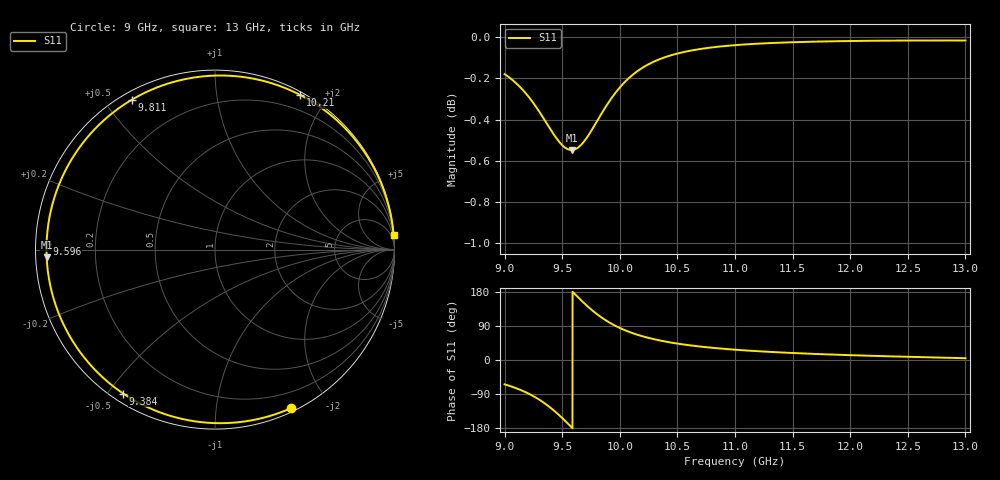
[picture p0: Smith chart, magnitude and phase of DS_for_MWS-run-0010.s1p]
! TOUCHSTONE file generated by CST DESIGN STUDIO
! Date and time: Tue Feb  4 13:39:02 2025
! Project name: C:\Work\MatlabApps\UnitCellOptimizationMatlab\CST\unitcell.cst
! Tree item: Tasks\Sweep1\SPara1\S-Parameters
! Header version: 2024
! Port assignment regex: !\s*Touchstone port\s*([0-9]+)\s*=\s*(CST MWS port|CST DES external port|CST DES block port)\s*(.+)\s* \(\"(.*)\"\)(\s*mode\s*([0-9]+))?.*
! Touchstone port assignment:
! Touchstone port 1 = CST DES external port 1 ("")
# GHz S MA R 50
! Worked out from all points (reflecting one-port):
!   4001 points, 9 GHz to 13 GHz, reference 50 ohm
!   lowest |S11| = -0.5 dB at 9.581 GHz (marker M1), VSWR 31.73, Z = 1.58 - j1.17 ohm
!   phase of S11 starts at -64 deg and turns -291 deg over the sweep
!   S11 on the Smith chart (normalised r, x): 9 GHz: 0.04, -1.59; 9.384 GHz: 0.03, -0.55; 9.596 GHz: 0.03, +0.02; 9.811 GHz: 0.03, +0.59; 10.21 GHz: 0.03, +1.69; 13 GHz: 1, +24
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9  0.9796 -64.2
9.047  0.9775 -68.7
9.116  0.9737 -76.3
9.234  0.9652 -92.8
9.314  0.958 -107.3
9.384  0.9512 -122.5
9.441  0.9458 -136.8
9.5  0.9414 -153.1
9.542  0.9395 -165.5
9.581  0.9389 -177.3
9.596  0.939 178.1
9.651  0.9408 161.5
9.712  0.9452 143.9
9.761  0.9499 130.9
9.811  0.9551 118.9
9.853  0.9594 109.8
9.897  0.9637 101.2
10  0.9723 84.5
10.102  0.9787 71.8
10.214  0.9838 61.2
10.346  0.9879 51.6
10.5  0.991 43.3
10.72  0.9937 34.7
11  0.9956 27.2
11.5  0.9973 18.5
12  0.9979 12.7
12.5  0.9982 8.4
13  0.9982 4.7
